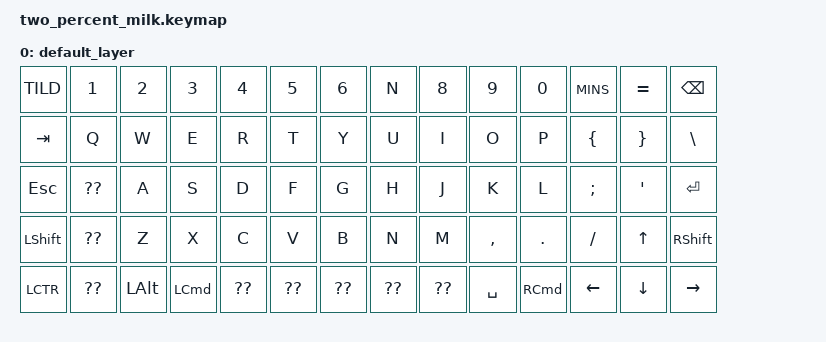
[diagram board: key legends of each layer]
#include <behaviors.dtsi>
#include <dt-bindings/zmk/keys.h>
#include <dt-bindings/zmk/bt.h>

 / {
    keymap {
        compatible = "zmk,keymap";

        default_layer {
            bindings = <
                &kp TILD  &kp N1   &kp N2   &kp N3   &kp N4   &kp N5   &kp N6   &kp N   &kp N8   &kp N9    &kp N0   &kp MINS  &kp EQL   &kp BSPC
                &kp TAB   &kp Q    &kp W    &kp E    &kp R    &kp T    &kp Y    &kp U   &kp I    &kp O     &kp P    &kp LBRC  &kp RBRC  &kp BSLH
                &kp ESC   &kp ??   &kp A    &kp S    &kp D    &kp F    &kp G    &kp H   &kp J    &kp K     &kp L    &kp SEMI  &kp SQT   &kp ENTER
                &kp LSHFT &kp ??   &kp Z    &kp X    &kp C    &kp V    &kp B    &kp N   &kp M    &kp COMMA &kp DOT  &kp SLASH &kp UP    &kp RSHFT
                &kp LCTR  &kp ??   &kp LALT &kp LCMD &kp ??   &kp ??   &kp ??   &kp ??  &kp ??   &kp SPACE &kp RCMD &kp LEFT  &kp DOWN  &kp RIGHT
            >;
        };
    };
};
